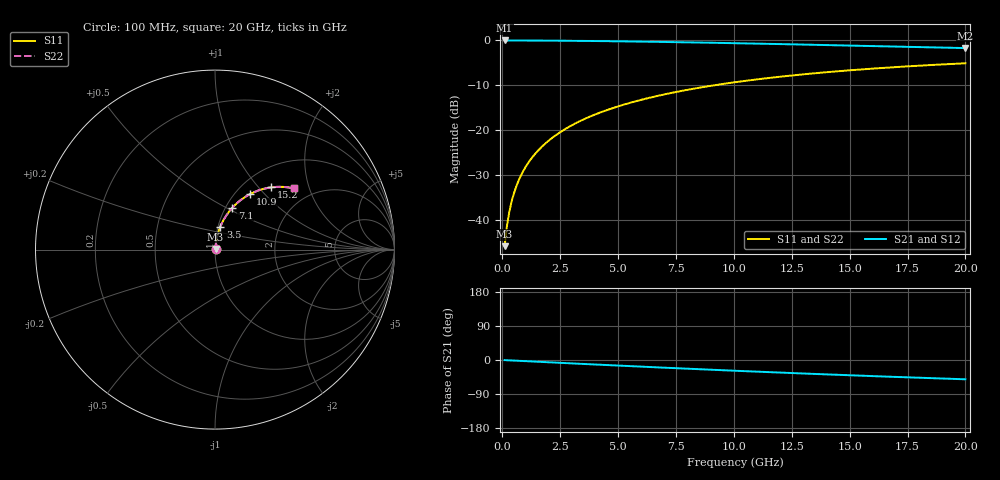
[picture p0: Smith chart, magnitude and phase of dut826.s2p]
! Touchstone file exported from HFSS 2026.1.0
!  File:  C:/ffzhzh/LocalFiles/Ansys_Project_Files/temp_train_TMRDL_826_1783156546_18472.aedt
!  Generated:  05:17:11 PM Jul  4, 2026
!  Design:  TMRDL
!  Project:  temp_train_TMRDL_826_1783156546_18472
! Variables:
!  h_bsmrdl = 2um
!  h_ox = 20um
!  h_rdl = 5um
!  h_sub = 80um
!  h_tmrdl = 5.79um
!  h_tsv = 80um
!  h_via = 3um
!  l_bsmrdl = 300um
!  l_sub = 1096.73um
!  l_tmrdl = 696.73um
!  m_sub = 200um
!  pitch = 59.13um
!  r_tsv = 6um
!  s_tmrdl = 10um
!  w_bsmrdl = 18um
!  w_sub = 500um
!  w_tmrdl = 13.33um
!  x_tsv_center1 = 703.395um
!  x_tsv_center2 = 1021.395um
!  x_tsv_center3 = 1731.455um
!  x_tsv_center4 = 2049.455um
!  x_tsv_center5 = 2759.515um
!  x_tsv_center6 = 3077.515um
# GHz S MA R 50.000000
! Terminal data exported
! Port[1] = TM_RDL1_1_T1
! Port[2] = TM_RDL1_1_T2
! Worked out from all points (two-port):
!   200 points, 100 MHz to 20 GHz, reference 50 ohm
!   highest |S21| = -0.03 dB at 100 MHz (marker M1); lowest = -1.7 dB at 20 GHz (marker M2)
!   |S21| within 3 dB of the highest: start of sweep to end of sweep
!   lowest |S11| = -45.8 dB at 100 MHz (marker M3), VSWR 1.01, Z = 50.3 + j0.396 ohm
!   |S11| at or under -10 dB: start of sweep to 9.162 GHz
!   |S22| runs from -45.8 to -5.1 dB; largest |S21 - S12| = 3.3e-15
!   S11 on the Smith chart (normalised r, x): 100 MHz: 1.01, +0.01; 3.5 GHz: 1.03, +0.27; 7.1 GHz: 1.08, +0.54; 10.9 GHz: 1.16, +0.83; 15.2 GHz: 1.32, +1.17; 20 GHz: 1.60, +1.58
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0.1  0.005111 50.3  0.9968 -0.3  0.9968 -0.3  0.005111 50.3
! Gamma 0 0 0 0
! Port Impedance 50 0 50 0
0.2  0.008539 66.5  0.9967 -0.6  0.9967 -0.6  0.008539 66.5
0.3  0.01222 72.9  0.9965 -0.9  0.9965 -0.9  0.01222 72.9
0.4  0.01597 76.2  0.9964 -1.2  0.9964 -1.2  0.01597 76.2
0.5  0.01973 78.1  0.9963 -1.5  0.9963 -1.5  0.01973 78.1
0.7  0.02729 80.1  0.996 -2.1  0.996 -2.1  0.02729 80.1
1  0.03865 81.2  0.9954 -3.0  0.9954 -3.0  0.03865 81.2
1.4  0.05378 81.4  0.9944 -4.2  0.9944 -4.2  0.05378 81.4
2  0.07632 80.5  0.9925 -6.0  0.9925 -6.0  0.07632 80.5
2.7  0.1023 79.0  0.9895 -8.1  0.9895 -8.1  0.1023 79.0
3.5  0.1313 76.9  0.9853 -10.4  0.9853 -10.4  0.1313 76.9
4.2  0.1562 75.1  0.981 -12.5  0.981 -12.5  0.1562 75.1
5  0.1839 72.9  0.9755 -14.7  0.9755 -14.7  0.1839 72.9
6.8  0.2437 68.2  0.961 -19.7  0.961 -19.7  0.2437 68.2
7.1  0.2533 67.4  0.9584 -20.6  0.9584 -20.6  0.2533 67.4
8.5  0.2966 63.8  0.9452 -24.3  0.9452 -24.3  0.2966 63.8
10.1  0.343 59.8  0.9289 -28.5  0.9289 -28.5  0.343 59.8
10.9  0.3649 57.8  0.9203 -30.5  0.9203 -30.5  0.3649 57.8
13.4  0.4278 51.9  0.8925 -36.6  0.8925 -36.6  0.4278 51.9
15.2  0.4679 47.9  0.8722 -40.8  0.8722 -40.8  0.4679 47.8
16.7  0.4982 44.6  0.8553 -44.1  0.8553 -44.1  0.4982 44.6
20  0.5552 37.9  0.8198 -50.9  0.8198 -50.9  0.5552 37.8
